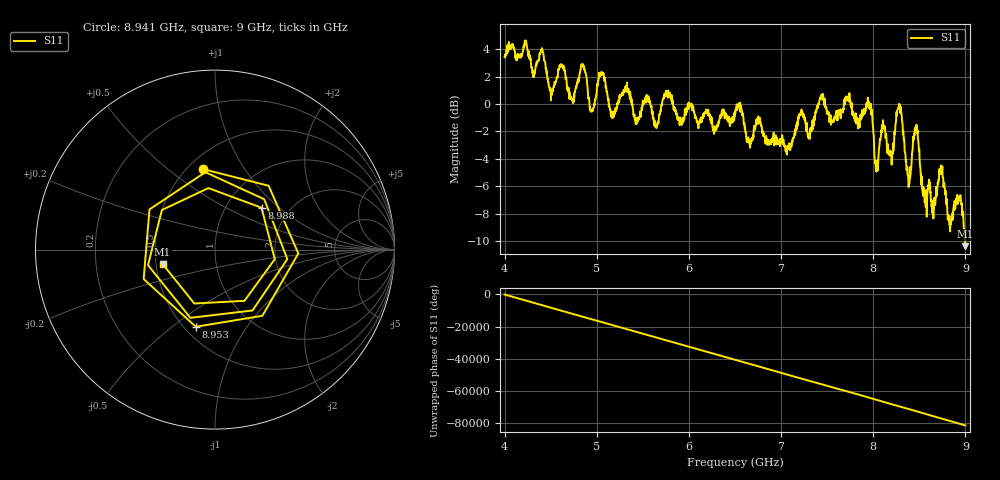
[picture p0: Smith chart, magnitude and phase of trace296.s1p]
! Created with skrf 1.8.0 (http://scikit-rf.org).
# Hz S RI R 50.0
!freq ReS11 ImS11
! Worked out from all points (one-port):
!   1601 points, 4 GHz to 9 GHz, reference 50 ohm
!   lowest |S11| = -10.4 dB at 9 GHz (marker M1), VSWR 1.87, Z = 27.1 - j4.78 ohm
!   |S11| at or under -10 dB: 8.997853 GHz to end of sweep
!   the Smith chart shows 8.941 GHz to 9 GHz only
!   S11 on the Smith chart (normalised r, x): 8.941 GHz: 0.59, +0.67; 8.953 GHz: 0.57, -0.61; 8.988 GHz: 1.46, +0.77; 9 GHz: 0.54, -0.10
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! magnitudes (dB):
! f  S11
! 4 GHz  3.4
! 4.403 GHz  3.9
! 4.506 GHz  0.9
! 4.625 GHz  2.9
! 4.725 GHz  0.5
! 4.847 GHz  2.9
! 4.944 GHz  -0.4
! 5.05 GHz  2.1
! 5.162 GHz  -0.7
! 5.25 GHz  0.4
! 5.875 GHz  -1.1
! 6.5 GHz  -0.5
! 7.125 GHz  -2.7
! 7.75 GHz  0.3
! 7.962 GHz  -0.2
! 8.038 GHz  -4.7
! 8.106 GHz  -1.2
! 8.2 GHz  -4.4
! 8.284 GHz  -0.2
! 8.375 GHz  -5.2
! 8.459 GHz  -2.0
! 8.559 GHz  -7.2
! 8.734 GHz  -4.5
! 8.831 GHz  -8.8
! 8.941 GHz  -6.9
! 8.953 GHz  -7.1
! 8.988 GHz  -9.1
! 9 GHz  -10.4
